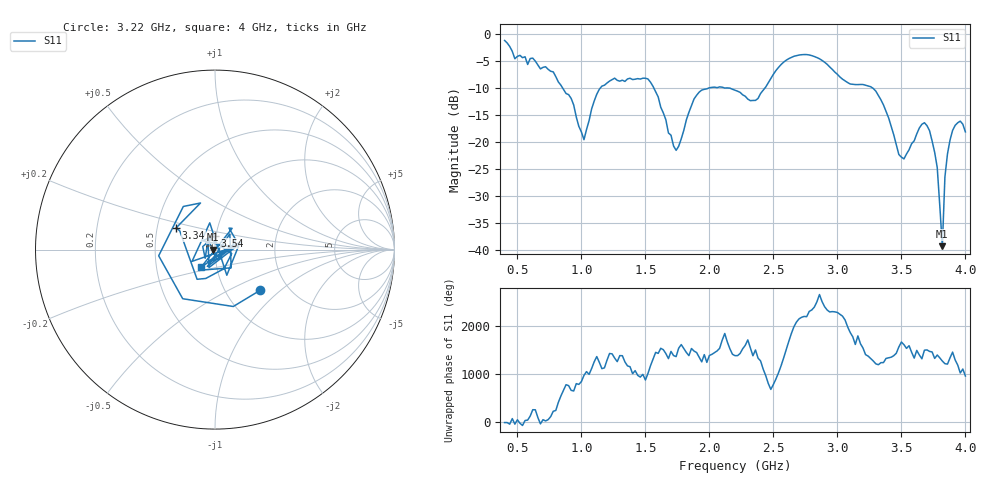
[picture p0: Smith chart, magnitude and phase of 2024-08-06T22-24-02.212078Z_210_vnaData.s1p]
!Created with skrf (http://scikit-rf.org).
# Hz S RI R 50.0
!freq ReS11 ImS11
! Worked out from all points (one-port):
!   181 points, 400 MHz to 4 GHz, reference 50 ohm
!   lowest |S11| = -39.2 dB at 3.82 GHz (marker M1), VSWR 1.02, Z = 48.9 - j0.0661 ohm
!   |S11| at or under -10 dB: 855.1 MHz to 1.146 GHz (290.5 MHz wide, 29 % of centre); 1.567 GHz to 1.989 GHz (421.7 MHz wide, 23.7 % of centre); 3.279 GHz to end of sweep (the widest 3 of 4)
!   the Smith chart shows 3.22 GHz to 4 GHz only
!   S11 on the Smith chart (normalised r, x): 3.22 GHz: 1.44, -0.74; 3.34 GHz: 0.63, +0.16; 3.54 GHz: 0.99, +0.16; 4 GHz: 0.84, -0.17
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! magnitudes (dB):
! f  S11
! 400 MHz  -1.1
! 860 MHz  -10.2
! 920 MHz  -11.9
! 1.02 GHz  -19.5
! 1.14 GHz  -10.2
! 1.3 GHz  -8.7
! 1.52 GHz  -8.3
! 1.72 GHz  -20.7
! 1.76 GHz  -20.7
! 1.92 GHz  -10.7
! 2.2 GHz  -10.3
! 2.36 GHz  -12.2
! 2.66 GHz  -4.1
! 2.86 GHz  -4.5
! 3.1 GHz  -9.2
! 3.22 GHz  -9.4
! 3.34 GHz  -12.1
! 3.48 GHz  -22.2
! 3.54 GHz  -22.1
! 3.56 GHz  -21.4
! 3.66 GHz  -16.7
! 3.72 GHz  -17.8
! 3.78 GHz  -24.7
! 3.82 GHz  -39.2
! 3.84 GHz  -26.4
! 3.88 GHz  -19.6
! 3.96 GHz  -16.1
! 4 GHz  -18.1
